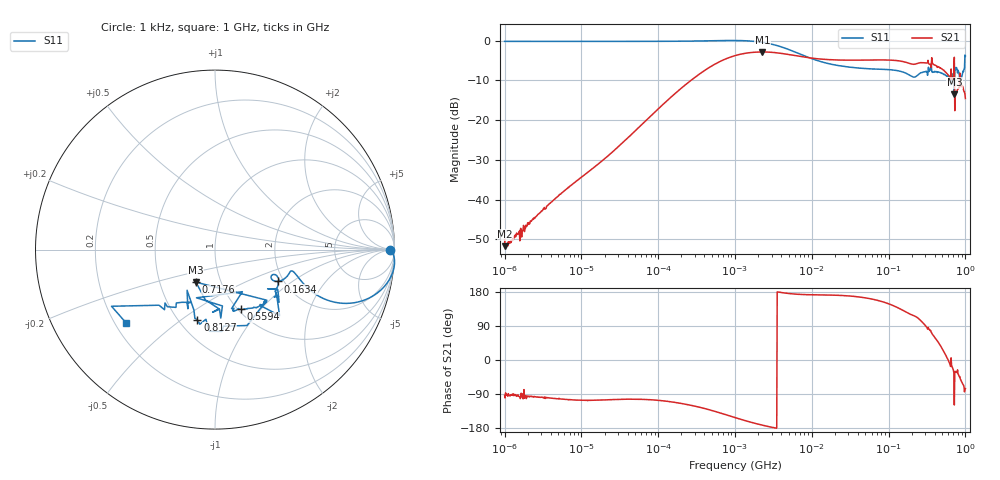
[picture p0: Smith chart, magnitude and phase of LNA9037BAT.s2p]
! ListType=Log
# MHZ S RI R 50
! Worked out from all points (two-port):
!   1000 points, 1 kHz to 1 GHz, reference 50 ohm
!   highest |S21| = -2.86 dB at 2.277 MHz (marker M1); lowest = -51.7 dB at 1.014 kHz (marker M2)
!   |S21| within 3 dB of the highest: 556.3 kHz to 194.8 MHz (194.3 MHz wide, 199 % of centre); 228.6 MHz to 334.4 MHz (105.8 MHz wide, 37.6 % of centre)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
!   lowest |S11| = -13.5 dB at 717.6 MHz (marker M3), VSWR 1.53, Z = 38 - j14.4 ohm
!   |S11| at or under -10 dB: 637 MHz to 660.3 MHz (23.31 MHz wide, 3.59 % of centre); 700.8 MHz to 723.8 MHz (22.96 MHz wide, 3.22 % of centre); 840.9 MHz to 853.1 MHz (12.19 MHz wide, 1.44 % of centre)
!   S12 and S22 are empty: the file has one direction only
!   S11 on the Smith chart (normalised r, x): 1 kHz: 87, -3; 163.4 MHz: 1.87, -0.78; 559.4 MHz: 1.03, -0.79; 717.6 MHz: 0.76, -0.29; 812.7 MHz: 0.62, -0.58; 1 GHz: 0.24, -0.34
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0.001  0.9772 -0.000716  -0.000199 -0.00313  0 0  0 0
0.0010139  0.9769 -0.000839  -0.000462 -0.00254  0 0  0 0
0.0100694  0.9769 -0.0005  -0.00534 -0.0184  0 0  0 0
0.1013925  0.9783 -0.00318  -0.0398 -0.1341  0 0  0 0
0.3023295  0.9865 -0.0142  -0.1828 -0.2932  0 0  0 0
1.006939  0.9981 -0.0961  -0.5723 -0.3032  0 0  0 0
2.27697  0.9216 -0.2277  -0.7124 -0.0992  0 0  0 0
4.673795  0.7323 -0.2997  -0.673 0.045  0 0  0 0
10.13925  0.5408 -0.2346  -0.5943 0.0828  0 0  0 0
38.2457  0.4362 -0.1227  -0.5528 0.1261  0 0  0 0
100.6939  0.4063 -0.1429  -0.483 0.3002  0 0  0 0
163.3854  0.351 -0.1773  -0.3306 0.423  0 0  0 0
237.3424  0.3366 -0.14  -0.1906 0.4785  0 0  0 0
344.7764  0.3293 -0.2641  0.1049 0.4876  0 0  0 0
467.3795  0.2301 -0.3244  0.3452 0.2871  0 0  0 0
559.4326  0.1441 -0.332  0.3885 0.078  0 0  0 0
669.616  0.0322 -0.3816  0.3197 -0.1003  0 0  0 0
717.5561  -0.1064 -0.1814  -0.2958 -0.5407  0 0  0 0
779.636  -0.0389 -0.435  0.1942 -0.1265  0 0  0 0
812.6619  -0.0979 -0.3918  0.1935 -0.1554  0 0  0 0
907.7327  -0.2153 -0.2973  0.1359 -0.2335  0 0  0 0
1000  -0.4949 -0.4087  0.0477 -0.1801  0 0  0 0
